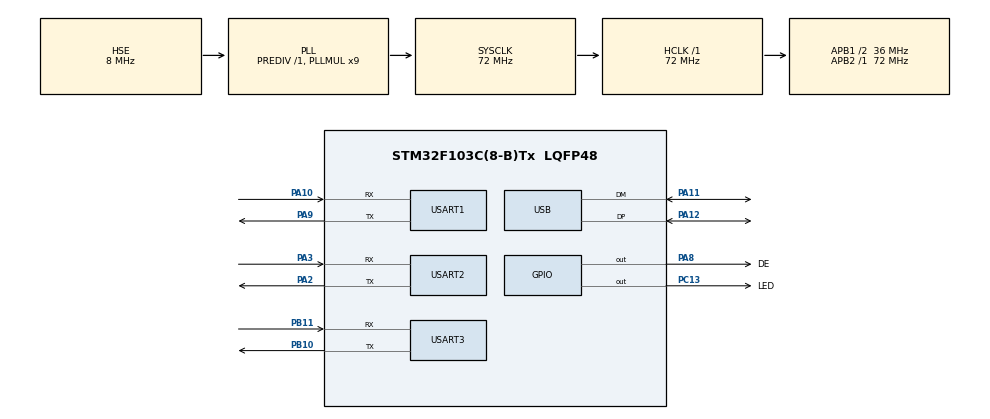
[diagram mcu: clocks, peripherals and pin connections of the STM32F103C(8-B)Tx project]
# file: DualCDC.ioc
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Dma.Request0=USART1_TX
Dma.Request1=USART2_TX
Dma.Request2=USART3_TX
Dma.USART1_TX.0.Direction=DMA_MEMORY_TO_PERIPH
Dma.USART1_TX.0.Instance=DMA1_Channel4
Dma.USART1_TX.0.MemDataAlignment=DMA_MDATAALIGN_BYTE
Dma.USART1_TX.0.MemInc=DMA_MINC_ENABLE
Dma.USART1_TX.0.Mode=DMA_NORMAL
Dma.USART1_TX.0.PeriphDataAlignment=DMA_PDATAALIGN_BYTE
Dma.USART1_TX.0.PeriphInc=DMA_PINC_DISABLE
Dma.USART1_TX.0.Priority=DMA_PRIORITY_LOW
Dma.USART2_TX.1.Direction=DMA_MEMORY_TO_PERIPH
Dma.USART2_TX.1.Instance=DMA1_Channel7
Dma.USART2_TX.1.MemDataAlignment=DMA_MDATAALIGN_BYTE
Dma.USART2_TX.1.MemInc=DMA_MINC_ENABLE
Dma.USART2_TX.1.Mode=DMA_NORMAL
Dma.USART2_TX.1.PeriphDataAlignment=DMA_PDATAALIGN_BYTE
Dma.USART2_TX.1.PeriphInc=DMA_PINC_DISABLE
Dma.USART2_TX.1.Priority=DMA_PRIORITY_LOW
Dma.USART3_TX.2.Direction=DMA_MEMORY_TO_PERIPH
Dma.USART3_TX.2.Instance=DMA1_Channel2
Dma.USART3_TX.2.MemDataAlignment=DMA_MDATAALIGN_BYTE
Dma.USART3_TX.2.MemInc=DMA_MINC_ENABLE
Dma.USART3_TX.2.Mode=DMA_NORMAL
Dma.USART3_TX.2.PeriphDataAlignment=DMA_PDATAALIGN_BYTE
Dma.USART3_TX.2.PeriphInc=DMA_PINC_DISABLE
Dma.USART3_TX.2.Priority=DMA_PRIORITY_LOW
IWDG.Prescaler=IWDG_PRESCALER_8
Mcu.Family=STM32F1
Mcu.Name=STM32F103C(8-B)Tx
Mcu.Package=LQFP48
NVIC.DMA1_Channel2_IRQn=true\:0\:0\:false\:false\:true\:false\:true\:true
NVIC.DMA1_Channel4_IRQn=true\:0\:0\:false\:false\:true\:false\:true\:true
NVIC.DMA1_Channel7_IRQn=true\:0\:0\:false\:false\:true\:false\:true\:true
NVIC.PriorityGroup=NVIC_PRIORITYGROUP_4
NVIC.TIM1_UP_IRQn=true\:0\:0\:false\:false\:true\:true\:true\:true
NVIC.USART1_IRQn=true\:0\:0\:false\:false\:true\:true\:true\:true
NVIC.USART2_IRQn=true\:0\:0\:false\:false\:true\:true\:true\:true
NVIC.USART3_IRQn=true\:0\:0\:false\:false\:true\:true\:true\:true
NVIC.USB_LP_CAN1_RX0_IRQn=true\:0\:0\:false\:false\:true\:false\:true\:true
PA10.Mode=Asynchronous
PA10.Signal=USART1_RX
PA11.Mode=Device
PA11.Signal=USB_DM
PA12.Mode=Device
PA12.Signal=USB_DP
PA13.Mode=Serial_Wire
PA13.Signal=SYS_JTMS-SWDIO
PA14.Mode=Serial_Wire
PA14.Signal=SYS_JTCK-SWCLK
PA2.Mode=Asynchronous
PA2.Signal=USART2_TX
PA3.Mode=Asynchronous
PA3.Signal=USART2_RX
PA8.GPIO_Label=DE
PA8.Signal=GPIO_Output
PA9.Mode=Asynchronous
PA9.Signal=USART1_TX
PB10.Mode=Asynchronous
PB10.Signal=USART3_TX
PB11.Mode=Asynchronous
PB11.Signal=USART3_RX
PC13-TAMPER-RTC.GPIO_Label=LED
PC13-TAMPER-RTC.Signal=GPIO_Output
PD0-OSC_IN.Mode=HSE-External-Oscillator
PD0-OSC_IN.Signal=RCC_OSC_IN
PD1-OSC_OUT.Mode=HSE-External-Oscillator
PD1-OSC_OUT.Signal=RCC_OSC_OUT
ProjectManager.HeapSize=0x200
ProjectManager.StackSize=0x400
ProjectManager.TargetToolchain=STM32CubeIDE
RCC.AHBFreq_Value=72000000
RCC.APB1CLKDivider=RCC_HCLK_DIV2
RCC.APB1Freq_Value=36000000
RCC.APB1TimFreq_Value=72000000
RCC.APB2Freq_Value=72000000
RCC.APB2TimFreq_Value=72000000
RCC.HCLKFreq_Value=72000000
RCC.PLLMUL=RCC_PLL_MUL9
RCC.SYSCLKFreq_VALUE=72000000
RCC.SYSCLKSource=RCC_SYSCLKSOURCE_PLLCLK
RCC.USBFreq_Value=48000000
RCC.USBPrescaler=RCC_USBCLKSOURCE_PLL_DIV1_5
TIM1.Prescaler=71
USART1.VirtualMode=VM_ASYNC
USART2.VirtualMode=VM_ASYNC
USART3.VirtualMode=VM_ASYNC
USB_DEVICE.CLASS_NAME_FS=CDC
USB_DEVICE.VirtualMode=Cdc
USB_DEVICE.VirtualModeFS=Cdc_FS
VP_IWDG_VS_IWDG.Mode=IWDG_Activate
VP_TIM1_VS_ClockSourceINT.Mode=Internal
VP_USB_DEVICE_VS_USB_DEVICE_CDC_FS.Mode=CDC_FS
board=custom

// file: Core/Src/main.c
/* USER CODE BEGIN Header */
/**
  ******************************************************************************
  * @file           : main.c
  * @brief          : Main program body
  ******************************************************************************
  * @attention
  *
  * Copyright (c) 2023 STMicroelectronics.
  * All rights reserved.
  *
  * This software is licensed under terms that can be found in the LICENSE file
  * in the root directory of this software component.
  * If no LICENSE file comes with this software, it is provided AS-IS.
  *
  ******************************************************************************
  */
/* USER CODE END Header */
#include "main.h"
#include "usb_device.h"

/* USER CODE BEGIN Includes */
#include "usbd_cdc_if.h"
#include "trace.h"
#include "ring_buf.h"
#include "us_timer.h"
/* USER CODE END Includes */

IWDG_HandleTypeDef hiwdg;

TIM_HandleTypeDef htim1;

UART_HandleTypeDef huart1;
UART_HandleTypeDef huart2;
UART_HandleTypeDef huart3;
DMA_HandleTypeDef hdma_usart1_tx;
DMA_HandleTypeDef hdma_usart2_tx;
DMA_HandleTypeDef hdma_usart3_tx;

/* USER CODE BEGIN PV */
RING_BUF_DEFINE(trace, 256, uint8_t, NULL, NULL);
/* USER CODE END PV */

void SystemClock_Config(void);
static void MX_GPIO_Init(void);
static void MX_DMA_Init(void);
static void MX_IWDG_Init(void);
static void MX_USART1_UART_Init(void);
static void MX_USART2_UART_Init(void);
static void MX_USART3_UART_Init(void);
static void MX_TIM1_Init(void);
/* USER CODE BEGIN PFP */
void Lock(void *arg);
void Unlock(void *arg);
/* USER CODE END PFP */

int main(void)
{
  /* USER CODE BEGIN 1 */
    uint8_t print_out[64];
  /* USER CODE END 1 */

  /* MCU Configuration--------------------------------------------------------*/

  /* Reset of all peripherals, Initializes the Flash interface and the Systick. */
  HAL_Init();

  /* Configure the system clock */
  SystemClock_Config();

  /* Initialize all configured peripherals */
  MX_GPIO_Init();
  MX_DMA_Init();
  MX_USART1_UART_Init();
  MX_USB_DEVICE_Init();
  MX_USART2_UART_Init();
  MX_USART3_UART_Init();
  MX_TIM1_Init();
  /* USER CODE BEGIN 2 */
  RING_BUF_SET_LOCK(trace, Lock);
  RING_BUF_SET_LOCK(trace, Unlock);
  RingBuf_Init(pRING_BUF(trace));

#ifndef DEBUG
  MX_IWDG_Init();
#endif

  TRACE_OK("--- System Start ---\r\n");
  /* USER CODE END 2 */

  /* Infinite loop */
  while (1)
  {

    /* USER CODE BEGIN 3 */
      UART_Poll();

      /* Trace flush */
        if (RingBuf_GetNum(pRING_BUF(trace))
            && ((HAL_UART_GetState(&huart3) & HAL_UART_STATE_BUSY_TX) == HAL_UART_STATE_READY))
      {
          uint16_t len = RingBuf_Pop(pRING_BUF(trace), print_out, sizeof(print_out));

          HAL_UART_Transmit_DMA(&huart3, print_out, len);
      }

#ifndef DEBUG
        HAL_IWDG_Refresh(&hiwdg);
#endif
  }
  /* USER CODE END 3 */
}

void SystemClock_Config(void)
{
  RCC_OscInitTypeDef RCC_OscInitStruct = {0};
  RCC_ClkInitTypeDef RCC_ClkInitStruct = {0};
  RCC_PeriphCLKInitTypeDef PeriphClkInit = {0};

  /** Initializes the RCC Oscillators according to the specified parameters
  * in the RCC_OscInitTypeDef structure.
  */
  RCC_OscInitStruct.OscillatorType = RCC_OSCILLATORTYPE_LSI|RCC_OSCILLATORTYPE_HSE;
  RCC_OscInitStruct.HSEState = RCC_HSE_ON;
  RCC_OscInitStruct.HSEPredivValue = RCC_HSE_PREDIV_DIV1;
  RCC_OscInitStruct.HSIState = RCC_HSI_ON;
  RCC_OscInitStruct.LSIState = RCC_LSI_ON;
  RCC_OscInitStruct.PLL.PLLState = RCC_PLL_ON;
  RCC_OscInitStruct.PLL.PLLSource = RCC_PLLSOURCE_HSE;
  RCC_OscInitStruct.PLL.PLLMUL = RCC_PLL_MUL9;
  if (HAL_RCC_OscConfig(&RCC_OscInitStruct) != HAL_OK)
  {
    Error_Handler();
  }

  /** Initializes the CPU, AHB and APB buses clocks
  */
  RCC_ClkInitStruct.ClockType = RCC_CLOCKTYPE_HCLK|RCC_CLOCKTYPE_SYSCLK
                              |RCC_CLOCKTYPE_PCLK1|RCC_CLOCKTYPE_PCLK2;
  RCC_ClkInitStruct.SYSCLKSource = RCC_SYSCLKSOURCE_PLLCLK;
  RCC_ClkInitStruct.AHBCLKDivider = RCC_SYSCLK_DIV1;
  RCC_ClkInitStruct.APB1CLKDivider = RCC_HCLK_DIV2;
  RCC_ClkInitStruct.APB2CLKDivider = RCC_HCLK_DIV1;

  if (HAL_RCC_ClockConfig(&RCC_ClkInitStruct, FLASH_LATENCY_2) != HAL_OK)
  {
    Error_Handler();
  }
  PeriphClkInit.PeriphClockSelection = RCC_PERIPHCLK_USB;
  PeriphClkInit.UsbClockSelection = RCC_USBCLKSOURCE_PLL_DIV1_5;
  if (HAL_RCCEx_PeriphCLKConfig(&PeriphClkInit) != HAL_OK)
  {
    Error_Handler();
  }
}

static void MX_IWDG_Init(void)
{

  hiwdg.Instance = IWDG;
  hiwdg.Init.Prescaler = IWDG_PRESCALER_8;
  hiwdg.Init.Reload = 4095;
  if (HAL_IWDG_Init(&hiwdg) != HAL_OK)
  {
    Error_Handler();
  }

}

static void MX_TIM1_Init(void)
{

  TIM_ClockConfigTypeDef sClockSourceConfig = {0};
  TIM_MasterConfigTypeDef sMasterConfig = {0};

  htim1.Instance = TIM1;
  htim1.Init.Prescaler = 71;
  htim1.Init.CounterMode = TIM_COUNTERMODE_UP;
  htim1.Init.Period = 65535;
  htim1.Init.ClockDivision = TIM_CLOCKDIVISION_DIV1;
  htim1.Init.RepetitionCounter = 0;
  htim1.Init.AutoReloadPreload = TIM_AUTORELOAD_PRELOAD_DISABLE;
  if (HAL_TIM_Base_Init(&htim1) != HAL_OK)
  {
    Error_Handler();
  }
  sClockSourceConfig.ClockSource = TIM_CLOCKSOURCE_INTERNAL;
  if (HAL_TIM_ConfigClockSource(&htim1, &sClockSourceConfig) != HAL_OK)
  {
    Error_Handler();
  }
  sMasterConfig.MasterOutputTrigger = TIM_TRGO_RESET;
  sMasterConfig.MasterSlaveMode = TIM_MASTERSLAVEMODE_DISABLE;
  if (HAL_TIMEx_MasterConfigSynchronization(&htim1, &sMasterConfig) != HAL_OK)
  {
    Error_Handler();
  }

}

static void MX_USART1_UART_Init(void)
{

  huart1.Instance = USART1;
  huart1.Init.BaudRate = 115200;
  huart1.Init.WordLength = UART_WORDLENGTH_8B;
  huart1.Init.StopBits = UART_STOPBITS_1;
  huart1.Init.Parity = UART_PARITY_NONE;
  huart1.Init.Mode = UART_MODE_TX_RX;
  huart1.Init.HwFlowCtl = UART_HWCONTROL_NONE;
  huart1.Init.OverSampling = UART_OVERSAMPLING_16;
  if (HAL_UART_Init(&huart1) != HAL_OK)
  {
    Error_Handler();
  }

}

static void MX_USART2_UART_Init(void)
{

  huart2.Instance = USART2;
  huart2.Init.BaudRate = 115200;
  huart2.Init.WordLength = UART_WORDLENGTH_8B;
  huart2.Init.StopBits = UART_STOPBITS_1;
  huart2.Init.Parity = UART_PARITY_NONE;
  huart2.Init.Mode = UART_MODE_TX_RX;
  huart2.Init.HwFlowCtl = UART_HWCONTROL_NONE;
  huart2.Init.OverSampling = UART_OVERSAMPLING_16;
  if (HAL_UART_Init(&huart2) != HAL_OK)
  {
    Error_Handler();
  }

}

static void MX_USART3_UART_Init(void)
{

  huart3.Instance = USART3;
  huart3.Init.BaudRate = 115200;
  huart3.Init.WordLength = UART_WORDLENGTH_8B;
  huart3.Init.StopBits = UART_STOPBITS_1;
  huart3.Init.Parity = UART_PARITY_NONE;
  huart3.Init.Mode = UART_MODE_TX_RX;
  huart3.Init.HwFlowCtl = UART_HWCONTROL_NONE;
  huart3.Init.OverSampling = UART_OVERSAMPLING_16;
  if (HAL_UART_Init(&huart3) != HAL_OK)
  {
    Error_Handler();
  }

}

static void MX_DMA_Init(void)
{

  /* DMA controller clock enable */
  __HAL_RCC_DMA1_CLK_ENABLE();

  /* DMA interrupt init */
  /* DMA1_Channel2_IRQn interrupt configuration */
  HAL_NVIC_SetPriority(DMA1_Channel2_IRQn, 0, 0);
  HAL_NVIC_EnableIRQ(DMA1_Channel2_IRQn);
  /* DMA1_Channel4_IRQn interrupt configuration */
  HAL_NVIC_SetPriority(DMA1_Channel4_IRQn, 0, 0);
  HAL_NVIC_EnableIRQ(DMA1_Channel4_IRQn);
  /* DMA1_Channel7_IRQn interrupt configuration */
  HAL_NVIC_SetPriority(DMA1_Channel7_IRQn, 0, 0);
  HAL_NVIC_EnableIRQ(DMA1_Channel7_IRQn);

}

static void MX_GPIO_Init(void)
{
  GPIO_InitTypeDef GPIO_InitStruct = {0};

  /* GPIO Ports Clock Enable */
  __HAL_RCC_GPIOC_CLK_ENABLE();
  __HAL_RCC_GPIOD_CLK_ENABLE();
  __HAL_RCC_GPIOA_CLK_ENABLE();
  __HAL_RCC_GPIOB_CLK_ENABLE();

  /*Configure GPIO pin Output Level */
  HAL_GPIO_WritePin(LED_GPIO_Port, LED_Pin, GPIO_PIN_RESET);

  /*Configure GPIO pin Output Level */
  HAL_GPIO_WritePin(DE_GPIO_Port, DE_Pin, GPIO_PIN_RESET);

  /*Configure GPIO pin : LED_Pin */
  GPIO_InitStruct.Pin = LED_Pin;
  GPIO_InitStruct.Mode = GPIO_MODE_OUTPUT_OD;
  GPIO_InitStruct.Pull = GPIO_NOPULL;
  GPIO_InitStruct.Speed = GPIO_SPEED_FREQ_LOW;
  HAL_GPIO_Init(LED_GPIO_Port, &GPIO_InitStruct);

  /*Configure GPIO pin : DE_Pin */
  GPIO_InitStruct.Pin = DE_Pin;
  GPIO_InitStruct.Mode = GPIO_MODE_OUTPUT_PP;
  GPIO_InitStruct.Pull = GPIO_NOPULL;
  GPIO_InitStruct.Speed = GPIO_SPEED_FREQ_LOW;
  HAL_GPIO_Init(DE_GPIO_Port, &GPIO_InitStruct);

/* USER CODE BEGIN MX_GPIO_Init_2 */
  /*Configure GPIO pin Output Level */
  HAL_GPIO_WritePin(GPIOC, GPIO_PIN_13, GPIO_PIN_RESET);

  /*Configure GPIO pin : PA8 */
  GPIO_InitStruct.Pin = GPIO_PIN_13;
  GPIO_InitStruct.Mode = GPIO_MODE_OUTPUT_PP;
  GPIO_InitStruct.Pull = GPIO_NOPULL;
  GPIO_InitStruct.Speed = GPIO_SPEED_FREQ_LOW;
  HAL_GPIO_Init(GPIOC, &GPIO_InitStruct);

  /* Pull down USB D+ pin */
  HAL_GPIO_WritePin(GPIOA, GPIO_PIN_12, GPIO_PIN_RESET);

  GPIO_InitStruct.Pin = GPIO_PIN_12;
  GPIO_InitStruct.Mode = GPIO_MODE_OUTPUT_OD;
  GPIO_InitStruct.Pull = GPIO_NOPULL;
  GPIO_InitStruct.Speed = GPIO_SPEED_FREQ_LOW;
  HAL_GPIO_Init(GPIOA, &GPIO_InitStruct);
/* USER CODE END MX_GPIO_Init_2 */
}

/* USER CODE BEGIN 4 */
void Lock(void *arg)
{
    (void) arg;

    __disable_irq();
}

void Unlock(void *arg)
{
    (void) arg;

    __enable_irq();
}

int _write(int file, char *ptr, int len)
{
    return (int) RingBuf_Push(pRING_BUF(trace), ptr, len);
}

void HAL_TIM_PeriodElapsedCallback(TIM_HandleTypeDef *htim)
{
    if (htim == &htim1)
    {
        usTimer_Callback(&htim1);
    }
}
/* USER CODE END 4 */

void Error_Handler(void)
{
  __disable_irq();
  while (1)
  {
  }
}
